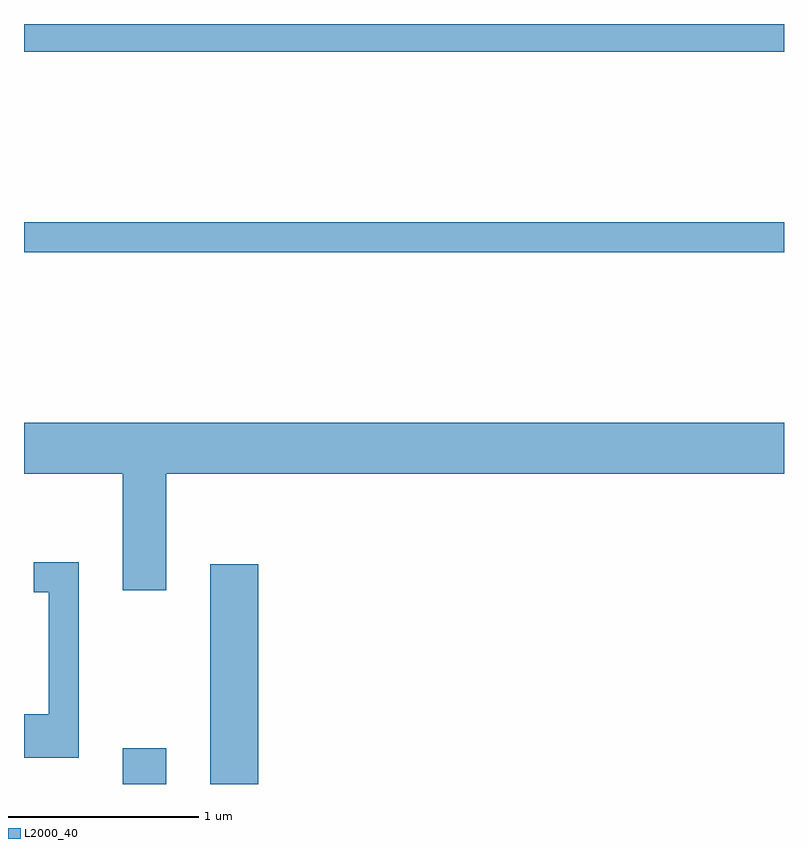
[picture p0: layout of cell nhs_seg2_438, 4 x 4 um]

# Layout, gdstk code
import gdstk
lib = gdstk.Library(unit=1e-6, precision=1e-09)
def R(c, l, rs):  # rectangles x0, y0, x1, y1
    for r in rs: c.add(gdstk.rectangle(r[:2], r[2:], *l))
def P(c, l, *ps):  # polygons
    for p in ps: c.add(gdstk.Polygon(p, *l))
L2000_40 = (2000, 40)

nhs_seg2_438 = lib.new_cell('nhs_seg2_438')
R(nhs_seg2_438, L2000_40, [(198.131,1037.802,198.359,1037.989), (198.591,1037.802,198.844,1038.959), (197.611,1040.601,201.611,1040.759), (197.611,1041.656,201.611,1041.802)])
P(nhs_seg2_438, L2000_40, [(198.359,1039.436),(201.611,1039.436),(201.611,1039.704),(197.611,1039.704),(197.611,1039.436),(198.131,1039.436),(198.131,1038.821),(198.359,1038.821)],
  [(197.899,1038.969),(197.663,1038.969),(197.663,1038.811),(197.741,1038.811),(197.741,1038.169),(197.611,1038.169),(197.611,1037.941),(197.899,1037.941)])

lib.write_gds('nhs_seg2_438.gds')
